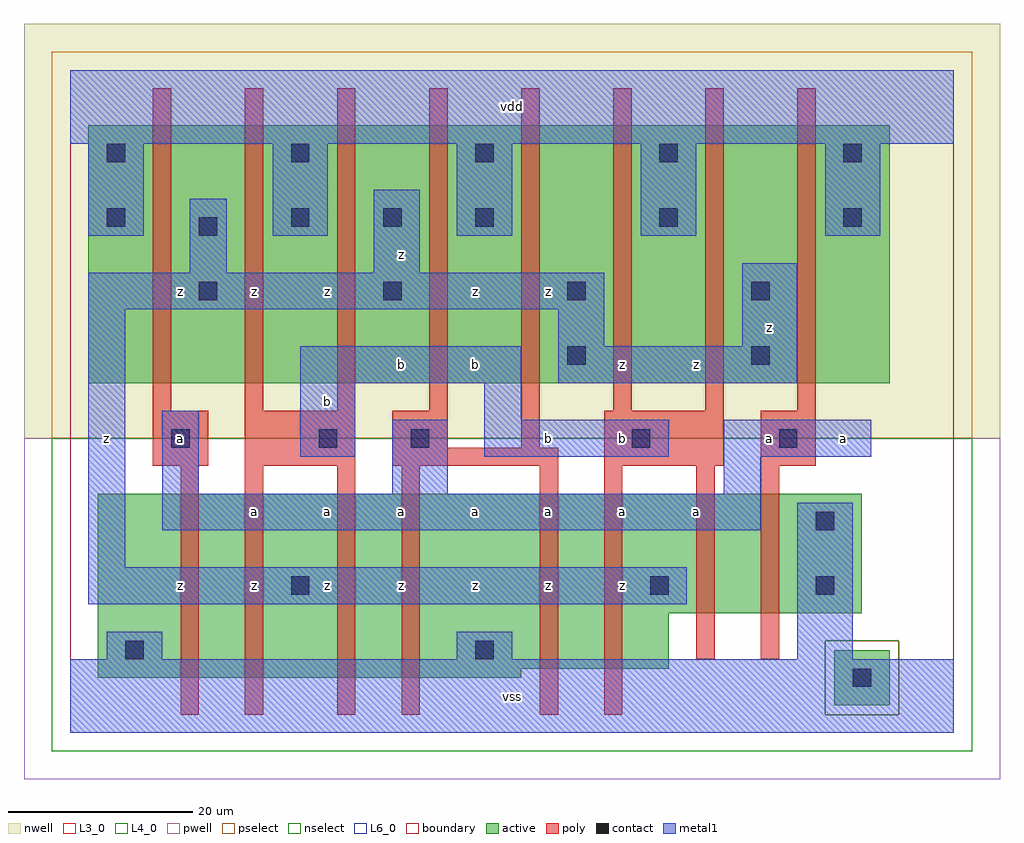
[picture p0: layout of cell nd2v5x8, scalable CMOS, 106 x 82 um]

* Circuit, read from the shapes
.subckt nd2v5x8 a b vdd vss z
M1 n1 a vss vss nfet w=20u l=2u
M2 z b n1 vss nfet w=20u l=2u
M3 n2 b z vss nfet w=20u l=2u
M4 vss a n2 vss nfet w=20u l=2u
M5 n3 a vss vss nfet w=19u l=2u
M6 z b n3 vss nfet w=19u l=2u
M7 n4 b z vss nfet w=13u l=2u
M8 vss a n4 vss nfet w=13u l=2u
M9 z a vdd n5 pfet w=28u l=2u m=4
M10 vdd b z n5 pfet w=28u l=2u m=4
.ends

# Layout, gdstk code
import gdstk
lib = gdstk.Library(unit=1e-6, precision=1e-09)
def R(c, l, rs):  # rectangles x0, y0, x1, y1
    for r in rs: c.add(gdstk.rectangle(r[:2], r[2:], *l))
def A(c, l, x, y, w, h, nx, ny, dx, dy):  # array of equal rectangles
    R(c, l, [(x+i*dx, y+j*dy, x+i*dx+w, y+j*dy+h) for i in range(nx) for j in range(ny)])
L3_0 = (3, 0)
L4_0 = (4, 0)
L6_0 = (6, 0)
contact = (25, 0)
pwell = (41, 0)
nwell = (42, 0)
active = (43, 0)
pselect = (44, 0)
nselect = (45, 0)
poly = (46, 0)
metal1 = (49, 0)
boundary = (63, 0)

nd2v5x8 = lib.new_cell('nd2v5x8')
R(nd2v5x8, L3_0, [(3,6,49,7), (3,7,65,13), (3,13,86,26)])
R(nd2v5x8, L4_0, [(2,38,89,66)])
R(nd2v5x8, L6_0, [(83,3,89,9)])
A(nd2v5x8, contact, 14, 47, 2, 2, 4, 1, 20, 0)
A(nd2v5x8, contact, 24, 55, 2, 2, 3, 1, 10, 0)
A(nd2v5x8, contact, 4, 62, 2, 2, 5, 1, 20, 0)
R(nd2v5x8, contact, [(85,5,87,7), (6,8,8,10), (44,8,46,10), (24,15,26,17), (63,15,65,17), (81,15,83,17), (81,22,83,24), (11,31,13,33), (27,31,29,33), (37,31,39,33), (61,31,63,33), (77,31,79,33), (54,40,56,42), (74,40,76,42), (14,54,16,56), (4,55,6,57), (64,55,66,57), (84,55,86,57)])
R(nd2v5x8, pwell, [(-5,-5,101,32)])
R(nd2v5x8, nwell, [(-5,32,101,77)])
R(nd2v5x8, active, [(83,3,89,9), (3,6,49,7), (3,7,65,13), (3,13,86,26), (2,38,89,66)])
R(nd2v5x8, pselect, [(82,2,90,10), (-2,32,98,74)])
R(nd2v5x8, nselect, [(-2,-2,98,2), (-2,2,82,10), (90,2,98,10), (-2,10,98,32)])
A(nd2v5x8, poly, 9, 35, 2, 35, 4, 1, 10, 0)
A(nd2v5x8, poly, 59, 35, 2, 35, 3, 1, 10, 0)
R(nd2v5x8, poly, [(12,2,14,29), (19,2,21,29), (29,2,31,29), (36,2,38,29), (51,2,53,29), (58,2,60,29), (68,8,70,29), (75,8,77,29), (9,29,15,35), (19,29,31,35), (35,29,53,31), (58,29,71,35), (75,29,81,35), (35,31,41,35), (49,31,51,70)])
A(nd2v5x8, metal1, 2, 54, 6, 10, 5, 1, 20, 0)
R(nd2v5x8, metal1, [(0,0,96,8), (4,8,10,11), (42,8,48,11), (79,8,85,25), (2,14,67,18), (2,18,6,46), (10,22,75,26), (10,26,14,35), (35,26,41,34), (71,26,75,30), (25,30,31,38), (45,30,65,34), (71,30,87,34), (45,34,49,38), (25,38,49,42), (53,38,79,42), (53,42,58,46), (73,42,79,51), (2,46,58,50), (13,50,17,58), (33,50,38,59), (0,64,96,72)])
R(nd2v5x8, boundary, [(0,0,96,72)])
nd2v5x8.add(gdstk.Label('z', (12,16), layer=49, texttype=0))
nd2v5x8.add(gdstk.Label('z', (4,32), layer=49, texttype=0))
nd2v5x8.add(gdstk.Label('a', (12,32), layer=49, texttype=0))
nd2v5x8.add(gdstk.Label('z', (12,48), layer=49, texttype=0))
nd2v5x8.add(gdstk.Label('z', (28,16), layer=49, texttype=0))
nd2v5x8.add(gdstk.Label('z', (20,16), layer=49, texttype=0))
nd2v5x8.add(gdstk.Label('a', (20,24), layer=49, texttype=0))
nd2v5x8.add(gdstk.Label('a', (28,24), layer=49, texttype=0))
nd2v5x8.add(gdstk.Label('b', (28,36), layer=49, texttype=0))
nd2v5x8.add(gdstk.Label('z', (20,48), layer=49, texttype=0))
nd2v5x8.add(gdstk.Label('z', (28,48), layer=49, texttype=0))
nd2v5x8.add(gdstk.Label('vss', (48,4), layer=49, texttype=0))
nd2v5x8.add(gdstk.Label('z', (52,16), layer=49, texttype=0))
nd2v5x8.add(gdstk.Label('z', (44,16), layer=49, texttype=0))
nd2v5x8.add(gdstk.Label('z', (36,16), layer=49, texttype=0))
nd2v5x8.add(gdstk.Label('a', (36,24), layer=49, texttype=0))
nd2v5x8.add(gdstk.Label('a', (52,24), layer=49, texttype=0))
nd2v5x8.add(gdstk.Label('a', (44,24), layer=49, texttype=0))
nd2v5x8.add(gdstk.Label('b', (52,32), layer=49, texttype=0))
nd2v5x8.add(gdstk.Label('b', (36,40), layer=49, texttype=0))
nd2v5x8.add(gdstk.Label('b', (44,40), layer=49, texttype=0))
nd2v5x8.add(gdstk.Label('z', (36,52), layer=49, texttype=0))
nd2v5x8.add(gdstk.Label('z', (52,48), layer=49, texttype=0))
nd2v5x8.add(gdstk.Label('z', (44,48), layer=49, texttype=0))
nd2v5x8.add(gdstk.Label('vdd', (48,68), layer=49, texttype=0))
nd2v5x8.add(gdstk.Label('z', (60,16), layer=49, texttype=0))
nd2v5x8.add(gdstk.Label('a', (60,24), layer=49, texttype=0))
nd2v5x8.add(gdstk.Label('a', (68,24), layer=49, texttype=0))
nd2v5x8.add(gdstk.Label('a', (76,32), layer=49, texttype=0))
nd2v5x8.add(gdstk.Label('b', (60,32), layer=49, texttype=0))
nd2v5x8.add(gdstk.Label('z', (60,40), layer=49, texttype=0))
nd2v5x8.add(gdstk.Label('z', (68,40), layer=49, texttype=0))
nd2v5x8.add(gdstk.Label('z', (76,44), layer=49, texttype=0))
nd2v5x8.add(gdstk.Label('a', (84,32), layer=49, texttype=0))

lib.write_gds('nd2v5x8.gds')
